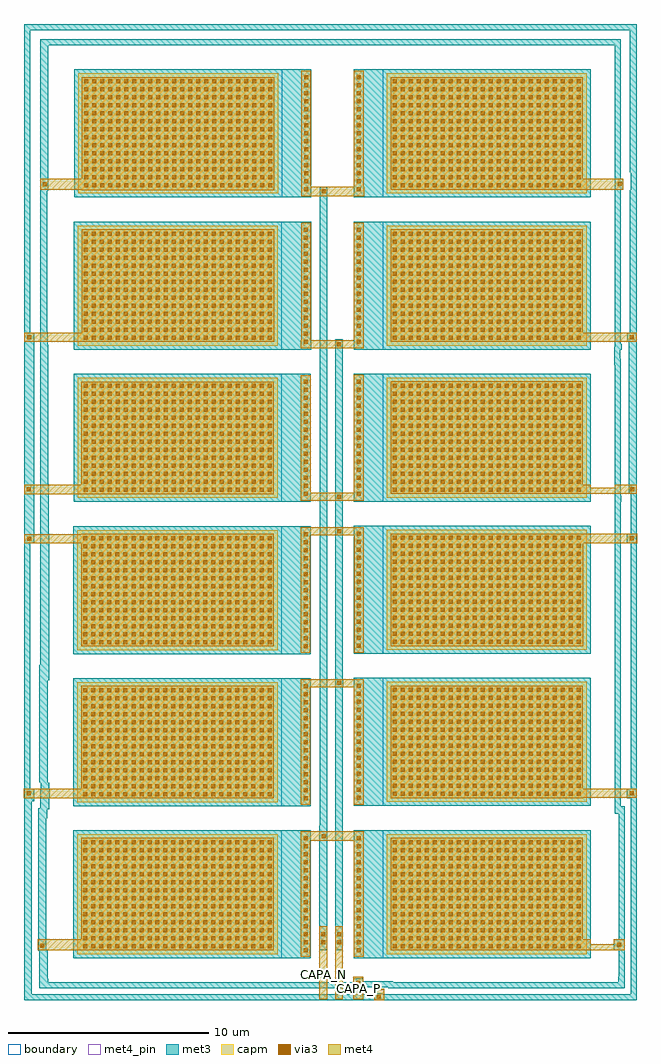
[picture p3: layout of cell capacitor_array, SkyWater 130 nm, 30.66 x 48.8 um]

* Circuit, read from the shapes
.subckt capacitor_array CAPA_N CAPA_P CAPB_N CAPB_P
XC1 CAPA_P CAPA_N sky130_fd_pr__cap_mim_m3_1 w=10 l=6 m=4
XC2 CAPB_P CAPB_N sky130_fd_pr__cap_mim_m3_1 w=10 l=6 m=8
.ends

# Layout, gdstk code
from math import pi, radians
import gdstk
lib = gdstk.Library(unit=1e-6, precision=1e-09)
def R(c, l, rs):  # rectangles x0, y0, x1, y1
    for r in rs: c.add(gdstk.rectangle(r[:2], r[2:], *l))
def A(c, l, x, y, w, h, nx, ny, dx, dy):  # array of equal rectangles
    R(c, l, [(x+i*dx, y+j*dy, x+i*dx+w, y+j*dy+h) for i in range(nx) for j in range(ny)])
met3 = (70, 20)
via3 = (70, 44)
met4_pin = (71, 16)
met4 = (71, 20)
capm = (89, 44)
boundary = (235, 4)

sky130_fd_pr__cap_mim_m3 = lib.new_cell('sky130_fd_pr__cap_mim_m3_1_5F7Q4P')
R(sky130_fd_pr__cap_mim_m3, met3, [(-5.93,-3.2,5.93,3.2)])
A(sky130_fd_pr__cap_mim_m3, via3, 5.57, -2.9, 0.2, 0.2, 1, 15, 0, 0.4)
A(sky130_fd_pr__cap_mim_m3, via3, -5.43, -2.7, 0.2, 0.2, 24, 14, 0.4, 0.4)
R(sky130_fd_pr__cap_mim_m3, met4, [(5.43,-3.14,5.91,3.14), (-5.53,-2.8,4.07,2.8)])
R(sky130_fd_pr__cap_mim_m3, capm, [(-5.73,-3,4.27,3)])
R(sky130_fd_pr__cap_mim_m3, boundary, [(-5.93,-3.2,4.47,3.2)])

capacitor_array = lib.new_cell('capacitor_array')
R(capacitor_array, met3, [(-2.47,-2.1,28.17,-1.8), (-2.47,-1.8,-2.08,7.84), (15.03,-1.8,15.47,-1.76), (27.87,-1.8,28.17,8), (-1.72,-1.5,14.59,-1.46), (15.73,-1.5,27.55,-1.46), (-1.72,-1.46,27.55,-1.2), (-1.72,-1.2,-1.27,-1.04), (13.98,-1.2,15.99,-1.16), (27.24,-1.2,27.55,-0.93), (13.98,-1.16,14.48,-1), (-1.72,-1.04,-1.28,-0.75), (27.25,-0.93,27.55,0.39), (-1.72,-0.75,-1.29,0.37), (-1.76,0.37,-1.29,0.38), (-1.76,0.38,-1.35,6.99), (27.01,0.39,27.55,0.94), (12.29,0.4,12.68,6.62), (13.08,0.4,13.47,13.54), (27.25,0.94,27.55,7.22), (12.31,6.62,12.68,38.57), (-1.76,6.99,-1.31,7.45), (27.07,7.22,27.55,7.59), (-1.76,7.45,-1.2,7.49), (-1.65,7.49,-1.2,8), (27.07,7.59,27.37,22.82), (-2.47,7.84,-1.95,8.46), (-1.65,8,-1.19,8.46), (27.67,8,28.17,8.47), (-2.47,8.46,-2.17,14.99), (-1.64,8.46,-1.2,8.47), (-1.64,8.47,-1.21,8.77), (27.85,8.47,28.17,20.75), (-1.64,8.77,-1.29,8.78), (-1.71,8.78,-1.29,13.89), (13.08,13.54,13.48,13.95), (-1.71,13.89,-1.21,14.66), (13.08,13.95,13.47,14.57), (13.09,14.57,13.46,30.95), (-1.65,14.66,-1.21,21.21), (-2.47,14.99,-2.16,20.73), (-2.47,20.73,-1.95,31.27), (27.67,20.75,28.17,21.21), (-1.65,21.21,-1.23,23.68), (27.85,21.21,28.17,23.21), (27.07,22.82,27.39,23.12), (27.07,23.12,27.37,26.5), (27.76,23.21,28.17,30.81), (-1.65,23.68,-1.27,30.67), (27.06,26.5,27.37,26.8), (27.06,26.8,27.36,29.66), (27.04,29.66,27.36,29.96), (27.04,29.96,27.34,30.42), (27.04,30.42,27.4,30.53), (27.06,30.53,27.4,30.72), (-1.65,30.67,-1.29,31.3), (27.06,30.72,27.36,38.42), (27.69,30.81,28.17,31.27), (-2.47,31.27,-2.15,46.4), (27.82,31.27,28.17,38.38), (-1.65,31.3,-1.3,38.37), (-1.65,38.37,-1.27,38.44), (27.86,38.38,28.17,39.28), (27.06,38.42,27.49,38.96), (-1.65,38.44,-1.26,38.93), (-1.65,38.93,-1.27,45.63), (27.06,38.96,27.36,45.63), (27.82,39.28,28.17,46.4), (-1.65,45.63,27.36,45.93), (-2.47,46.4,28.17,46.7)])
R(capacitor_array, via3, [(15.15,-2.03,15.35,-1.83), (14.135,-1.35,14.335,-1.15), (-1.655,0.515,-1.455,0.715), (27.195,0.56,27.395,0.76), (12.39,0.695,12.59,0.895), (13.18,0.695,13.38,0.895), (12.39,1.095,12.59,1.295), (13.18,1.095,13.38,1.295), (12.4,5.99,12.6,6.19), (-2.335,8.13,-2.135,8.33), (27.81,8.135,28.01,8.335), (13.18,13.655,13.38,13.855), (-2.305,20.87,-2.105,21.07), (27.81,20.885,28.01,21.085), (13.18,21.245,13.38,21.445), (13.18,22.975,13.38,23.175), (-2.325,23.33,-2.125,23.53), (27.835,23.345,28.035,23.545), (13.17,30.595,13.37,30.795), (-2.315,30.94,-2.115,31.14), (27.82,30.945,28.02,31.145), (12.4,38.23,12.6,38.43), (-1.54,38.6,-1.34,38.8), (27.2,38.605,27.4,38.805)])
R(capacitor_array, met4_pin, [(13.98,-2.06,14.48,-1), (12.29,-2.05,12.68,0.44), (13.08,-2.05,13.47,0.44), (15.03,-1.6,15.53,-1.54)])
R(capacitor_array, met4, [(15.03,-2.1,15.53,-1.54), (13.98,-2.06,14.48,-0.94), (12.29,-2.05,12.68,1.58), (13.08,-2.05,13.47,1.58), (-1.78,0.38,-0.71,0.39), (-1.78,0.39,10.01,0.93), (15.85,0.39,27.55,0.69), (15.85,0.69,25.86,0.93), (27.01,0.69,27.55,0.93), (0.39,0.93,10.01,6.01), (15.85,0.93,25.47,6.01), (11.36,5.86,14.5,6.34), (0.39,7.99,10.01,8), (-2.48,8,10.01,8.46), (15.85,8,25.47,8.01), (15.85,8.01,28.17,8.47), (0.39,8.46,10.01,13.61), (15.85,8.47,25.47,13.62), (11.36,13.55,14.51,13.95), (0.39,15.59,10.01,20.74), (15.86,15.6,25.48,20.75), (-2.47,20.74,10.01,21.2), (15.86,20.75,28.18,21.21), (11.36,21.14,14.51,21.54), (0.39,21.2,10.01,21.21), (15.86,21.21,25.48,21.22), (11.37,22.87,14.5,23.27), (-2.47,23.2,10.02,23.66), (15.85,23.21,28.17,23.51), (15.85,23.51,25.86,23.67), (27.07,23.51,28.17,23.67), (0.4,23.66,10.02,28.82), (15.85,23.67,25.47,28.83), (11.37,30.49,14.5,30.89), (-2.47,30.81,10.03,31.27), (15.85,30.81,28.17,31.27), (13.09,30.89,13.46,30.9), (0.41,31.27,10.03,36.43), (15.85,31.27,25.47,36.43), (11.39,38.09,14.53,38.57), (0.41,38.4,10.04,38.42), (-1.65,38.42,10.04,38.96), (15.85,38.42,27.49,38.96), (-1.65,38.96,-0.99,38.97), (0.41,38.96,10.04,44.03), (15.85,38.96,25.47,44.04)])
capacitor_array.add(gdstk.Reference(sky130_fd_pr__cap_mim_m3, (19.93,33.62), rotation=pi))
capacitor_array.add(gdstk.Reference(sky130_fd_pr__cap_mim_m3, (19.93,26.02), rotation=pi))
capacitor_array.add(gdstk.Reference(sky130_fd_pr__cap_mim_m3, (19.94,18.41), rotation=pi))
capacitor_array.add(gdstk.Reference(sky130_fd_pr__cap_mim_m3, (19.93,41.23), rotation=pi))
capacitor_array.add(gdstk.Reference(sky130_fd_pr__cap_mim_m3, (19.93,3.2), rotation=pi))
capacitor_array.add(gdstk.Reference(sky130_fd_pr__cap_mim_m3, (5.93,3.2)))
capacitor_array.add(gdstk.Reference(sky130_fd_pr__cap_mim_m3, (5.95,33.62)))
capacitor_array.add(gdstk.Reference(sky130_fd_pr__cap_mim_m3, (5.94,26.01)))
capacitor_array.add(gdstk.Reference(sky130_fd_pr__cap_mim_m3, (5.93,18.4)))
capacitor_array.add(gdstk.Reference(sky130_fd_pr__cap_mim_m3, (5.96,41.23)))
capacitor_array.add(gdstk.Reference(sky130_fd_pr__cap_mim_m3, (19.93,10.81), rotation=pi))
capacitor_array.add(gdstk.Reference(sky130_fd_pr__cap_mim_m3, (5.93,10.8)))
capacitor_array.add(gdstk.Label('CAPA_N', (12.485,-0.805), layer=71, texttype=5))
capacitor_array.add(gdstk.Label('CAPB_N', (13.275,-0.805), layer=71, texttype=5))
capacitor_array.add(gdstk.Label('CAPA_P', (14.23,-1.53), layer=71, texttype=5))
capacitor_array.add(gdstk.Label('CAPB_P', (15.28,-1.57), layer=71, texttype=5))

lib.write_gds('capacitor_array.gds')
